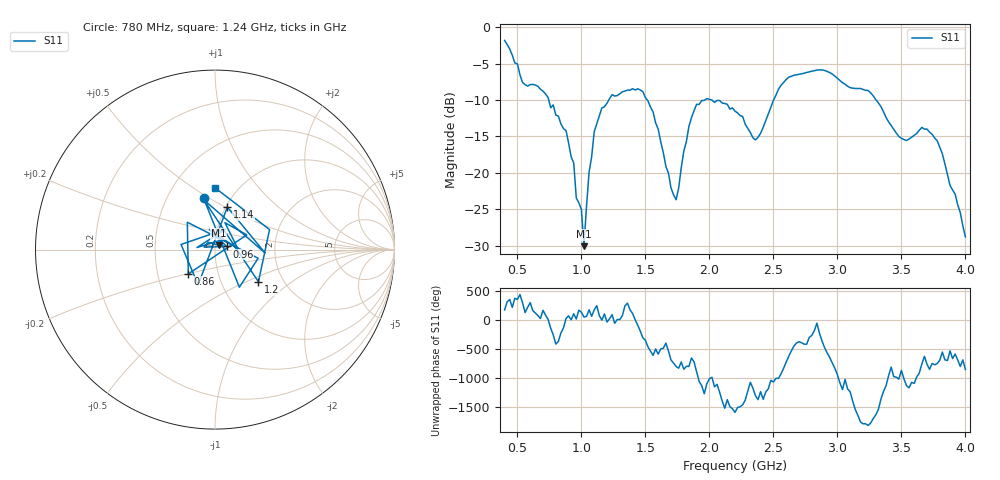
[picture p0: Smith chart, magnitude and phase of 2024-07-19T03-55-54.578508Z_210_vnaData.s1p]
!Created with skrf (http://scikit-rf.org).
# Hz S RI R 50.0
!freq ReS11 ImS11
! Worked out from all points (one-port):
!   181 points, 400 MHz to 4 GHz, reference 50 ohm
!   lowest |S11| = -30.1 dB at 1.02 GHz (marker M1), VSWR 1.06, Z = 52 + j2.46 ohm
!   |S11| at or under -10 dB: 744.8 MHz to 1.213 GHz (468.6 MHz wide, 47.9 % of centre); 2.019 GHz to 2.501 GHz (482.1 MHz wide, 21.3 % of centre); 3.303 GHz to end of sweep (the widest 3 of 4)
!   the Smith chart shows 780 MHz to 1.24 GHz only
!   S11 on the Smith chart (normalised r, x): 780 MHz: 0.75, +0.47; 860 MHz: 0.72, -0.20; 960 MHz: 1.14, +0.04; 1.14 GHz: 1.02, +0.51; 1.2 GHz: 1.50, -0.59; 1.24 GHz: 0.79, +0.62
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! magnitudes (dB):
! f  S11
! 400 MHz  -1.8
! 540 MHz  -7.6
! 780 MHz  -10.7
! 860 MHz  -13.9
! 940 MHz  -18.6
! 960 MHz  -23.5
! 1 GHz  -25.0
! 1.02 GHz  -30.1
! 1.06 GHz  -19.9
! 1.14 GHz  -12.2
! 1.2 GHz  -10.4
! 1.24 GHz  -9.3
! 1.3 GHz  -9.1
! 1.48 GHz  -8.8
! 1.56 GHz  -11.6
! 1.72 GHz  -23.0
! 1.76 GHz  -22.1
! 1.84 GHz  -13.6
! 1.9 GHz  -10.6
! 2.2 GHz  -11.5
! 2.36 GHz  -15.5
! 2.66 GHz  -6.6
! 3.1 GHz  -8.3
! 3.24 GHz  -8.7
! 3.56 GHz  -15.4
! 3.66 GHz  -13.8
! 3.78 GHz  -15.6
! 4 GHz  -28.8
